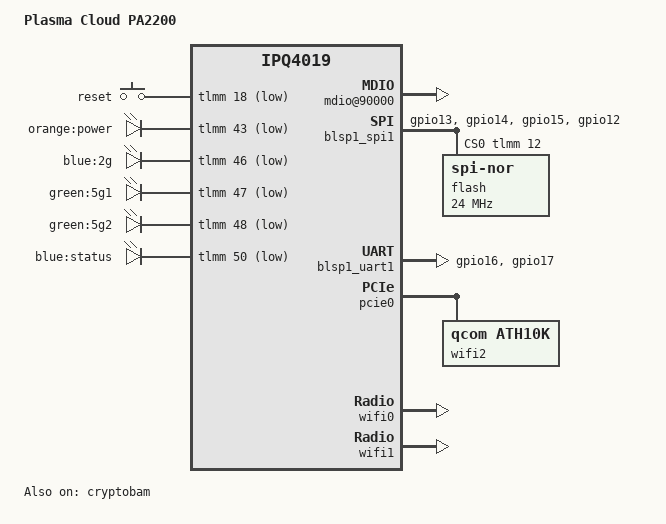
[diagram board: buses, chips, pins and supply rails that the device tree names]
// SPDX-License-Identifier: GPL-2.0-or-later OR MIT
/* Copyright (c) 2017-2020, Sven Eckelmann <sven@narfation.org>
 * Copyright (c) 2018, Marek Lindner <marek.lindner@kaiwoo.ai>
 */

#include "qcom-ipq4019.dtsi"
#include <dt-bindings/gpio/gpio.h>
#include <dt-bindings/input/input.h>
#include <dt-bindings/soc/qcom,tcsr.h>

/ {
	model = "Plasma Cloud PA2200";
	compatible = "plasmacloud,pa2200";

	soc {
		rng@22000 {
			status = "okay";
		};

		mdio@90000 {
			status = "okay";
		};

		ess-psgmii@98000 {
			status = "okay";
		};

		tcsr@1949000 {
			compatible = "qcom,tcsr";
			reg = <0x1949000 0x100>;
			qcom,wifi_glb_cfg = <TCSR_WIFI_GLB_CFG>;
		};

		ess_tcsr@1953000 {
			compatible = "qcom,tcsr";
			reg = <0x1953000 0x1000>;
			qcom,ess-interface-select = <TCSR_ESS_PSGMII>;
		};

		tcsr@1957000 {
			compatible = "qcom,tcsr";
			reg = <0x1957000 0x100>;
			qcom,wifi_noc_memtype_m0_m2 = <TCSR_WIFI_NOC_MEMTYPE_M0_M2>;
		};

		crypto@8e3a000 {
			status = "okay";
		};

		watchdog@b017000 {
			status = "okay";
		};

		ess-switch@c000000 {
			switch_lan_bmp = <0x10>;
			switch_wan_bmp = <0x20>;

			status = "okay";
		};

		edma@c080000 {
			status = "okay";
		};
	};

	keys {
		compatible = "gpio-keys";

		reset {
			label = "reset";
			gpios = <&tlmm 18 GPIO_ACTIVE_LOW>;
			linux,code = <KEY_RESTART >;
		};
	};

	aliases {
		led-boot = &led_power_orange;
		led-failsafe = &led_status_blue;
		led-running = &led_power_orange;
		led-upgrade = &led_status_blue;
	};

	leds {
		compatible = "gpio-leds";

		led_power_orange: power_orange {
			label = "orange:power";
			gpios = <&tlmm 43 GPIO_ACTIVE_LOW>;
		};

		2g_blue {
			label = "blue:2g";
			gpios = <&tlmm 46 GPIO_ACTIVE_LOW>;
			linux,default-trigger = "phy1tpt";
		};

		2g_green {
			label = "green:5g1";
			gpios = <&tlmm 47 GPIO_ACTIVE_LOW>;
			linux,default-trigger = "phy0tpt";
		};

		5g2_green {
			label = "green:5g2";
			gpios = <&tlmm 48 GPIO_ACTIVE_LOW>;
			linux,default-trigger = "phy2tpt";
		};

		led_status_blue: status_blue {
			label = "blue:status";
			gpios = <&tlmm 50 GPIO_ACTIVE_LOW>;
		};
	};
};

&tlmm {
	serial_pins: serial_pinmux {
		mux {
			pins = "gpio16", "gpio17";
			function = "blsp_uart0";
			bias-disable;
		};
	};

	spi_0_pins: spi_0_pinmux {
		pin {
			function = "blsp_spi0";
			pins = "gpio13", "gpio14", "gpio15";
			drive-strength = <12>;
			bias-disable;
		};
		pin_cs {
			function = "gpio";
			pins = "gpio12";
			drive-strength = <2>;
			bias-disable;
			output-high;
		};
	};
};

&blsp_dma {
	status = "okay";
};

&blsp1_spi1 {
	pinctrl-0 = <&spi_0_pins>;
	pinctrl-names = "default";
	status = "okay";
	cs-gpios = <&tlmm 12 GPIO_ACTIVE_HIGH>;

	flash@0 {
		#address-cells = <1>;
		#size-cells = <1>;
		compatible = "jedec,spi-nor";
		reg = <0>;
		spi-max-frequency = <24000000>;
		/* partitions are passed via bootloader */
	};
};

&blsp1_uart1 {
	pinctrl-0 = <&serial_pins>;
	pinctrl-names = "default";
	status = "okay";
};

&cryptobam {
	status = "okay";
};

&gmac0 {
	qcom,phy_mdio_addr = <3>;
	qcom,poll_required = <1>;
	qcom,forced_speed = <1000>;
	qcom,forced_duplex = <1>;
	vlan_tag = <1 0x10>;
};

&pcie0 {
	status = "okay";
	perst-gpio = <&tlmm 38 GPIO_ACTIVE_LOW>;
	wake-gpio = <&tlmm 50 GPIO_ACTIVE_LOW>;

	bridge@0,0 {
		reg = <0x00000000 0 0 0 0>;
		#address-cells = <3>;
		#size-cells = <2>;
		ranges;

		wifi2: wifi@1,0 {
			compatible = "qcom,ath10k";
			status = "okay";
			reg = <0x00010000 0 0 0 0>;
			qcom,ath10k-calibration-variant = "PlasmaCloud-PA2200";
			ieee80211-freq-limit = <5170000 5350000>;
		};
	};
};

&wifi0 {
	status = "okay";
	qcom,ath10k-calibration-variant = "PlasmaCloud-PA2200";
};

&wifi1 {
	status = "okay";
	qcom,ath10k-calibration-variant = "PlasmaCloud-PA2200";
	ieee80211-freq-limit = <5470000 5875000>;
};
